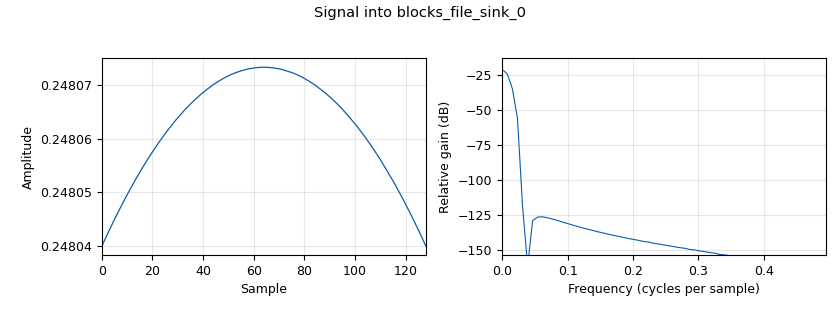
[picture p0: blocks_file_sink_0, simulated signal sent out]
<?xml version='1.0' encoding='utf-8'?>
<?grc format='1' created='3.7.13'?>
<flow_graph>
<block>
<key>options</key>
<param><key>id</key><value>top_block</value></param>
<param><key>generate_options</key><value>qt_gui</value></param>
</block>
<block>
<key>variable</key>
<param><key>id</key><value>samp_rate</value></param>
<param><key>value</key><value>32000</value></param>
</block>
<block>
<key>variable</key>
<param><key>id</key><value>samp_rate_0</value></param>
<param><key>value</key><value>32000</value></param>
</block>
<block>
<key>variable</key>
<param><key>id</key><value>sps</value></param>
<param><key>value</key><value>4</value></param>
</block>
<block>
<key>variable</key>
<param><key>id</key><value>taps_0</value></param>
<param><key>value</key><value>firdes.root_raised_cosine(taps_gain,samp_rate,sps,taps_bw,taps_count)</value></param>
</block>
<block>
<key>variable</key>
<param><key>id</key><value>taps_bw</value></param>
<param><key>value</key><value>0.35</value></param>
</block>
<block>
<key>variable</key>
<param><key>id</key><value>taps_count</value></param>
<param><key>value</key><value>32*sps</value></param>
</block>
<block>
<key>variable</key>
<param><key>id</key><value>taps_gain</value></param>
<param><key>value</key><value>32</value></param>
</block>
<block>
<key>blocks_file_sink</key>
<param><key>id</key><value>blocks_file_sink_0</value></param>
<param><key>file</key><value>C:\Users\XongileN\Google Drive\PothosFiles\out.txt</value></param>
<param><key>type</key><value>float</value></param>
</block>
<block>
<key>blocks_vector_source_x</key>
<param><key>id</key><value>blocks_vector_source_x_0</value></param>
<param><key>type</key><value>float</value></param>
<param><key>repeat</key><value>False</value></param>
<param><key>vector</key><value>taps_0</value></param>
</block>
<connection><source_block_id>blocks_vector_source_x_0</source_block_id><sink_block_id>blocks_file_sink_0</sink_block_id><source_key>0</source_key><sink_key>0</sink_key></connection>
</flow_graph>
